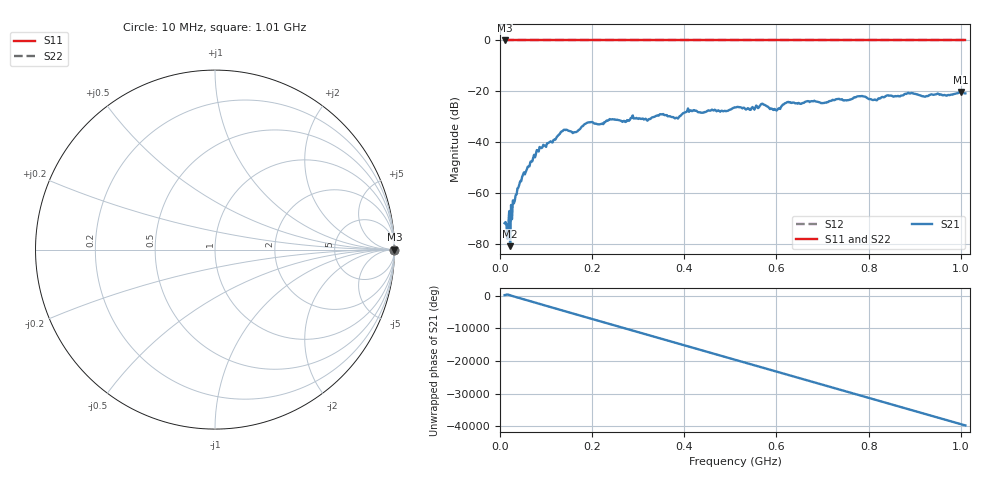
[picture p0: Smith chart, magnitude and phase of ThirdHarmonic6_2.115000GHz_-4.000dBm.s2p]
! 8/17/2025 1:17:14 AM
! C:\ANRITSUVNA\TEMP\TEMP.S2P
! CHANNEL.1
! TR.MEASUREMENT
! RAW.DATA
! RF.CORRECTION.OFF
! AVERAGING.OFF
! IF.BANDWIDTH: 5KHZ
! SWEEPTYPE:  FREQ.SWEEP(Linear)
! Reference Plane Port Info
! PORT:  PORT1  PORT2
! DISTANCE:  0  m  0  m
! TIME:  0  s  0  s
! PHASE.OFFSET:  0  deg.  0  deg.
! LOSS:  0  dB  0  dB
! REF.LOSS:  0  dB  0  dB
! REF.FREQ:  0  Hz  0  Hz
! Power Info
! POWER:  -20  dBm  -20  dBm
! EFF.POWER:  -20  dBm  -20  dBm
! SOURCE.ATTEN:  0  dB  0  dB
! TEST.ATTEN:  0  dB  0  dB
# GHZ S RI R 50.0
! FREQ.GHZ  S11RE  S11IM  S21RE  S21IM  S12RE  S12IM  S22RE  S22IM
!; PortSelection: Port_12
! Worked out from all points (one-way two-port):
!   501 points, 10 MHz to 1.01 GHz, reference 50 ohm
!   highest |S21| = -20.23 dB at 1 GHz (marker M1); lowest = -80.9 dB at 22 MHz (marker M2)
!   lowest |S11| = 0.0 dB at 10 MHz (marker M3)
!   |S11| at or under -10 dB: nowhere
!   |S22| runs from 0.0 to 0.0 dB; largest |S21 - S12| = 1.1
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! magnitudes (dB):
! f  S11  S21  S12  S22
! 10 MHz  0.0  -71.8  0.0  0.0
! 18 MHz  0.0  -73.0  0.0  0.0
! 22 MHz  0.0  -80.9  0.0  0.0
! 32 MHz  0.0  -63.1  0.0  0.0
! 48 MHz  0.0  -53.6  0.0  0.0
! 82 MHz  0.0  -43.3  0.0  0.0
! 136 MHz  0.0  -35.6  0.0  0.0
! 162 MHz  0.0  -36.1  0.0  0.0
! 178 MHz  0.0  -33.8  0.0  0.0
! 344 MHz  0.0  -29.6  0.0  0.0
! 384 MHz  0.0  -30.4  0.0  0.0
! 410 MHz  0.0  -28.1  0.0  0.0
! 510 MHz  0.0  -26.3  0.0  0.0
! 570 MHz  0.0  -24.9  0.0  0.0
! 598 MHz  0.0  -27.3  0.0  0.0
! 622 MHz  0.0  -24.4  0.0  0.0
! 678 MHz  0.0  -23.9  0.0  0.0
! 782 MHz  0.0  -21.9  0.0  0.0
! 814 MHz  0.0  -23.2  0.0  0.0
! 844 MHz  0.0  -21.7  0.0  0.0
! 1 GHz  0.0  -20.2  0.0  0.0
! 1.01 GHz  0.0  -20.8  0.0  0.0
